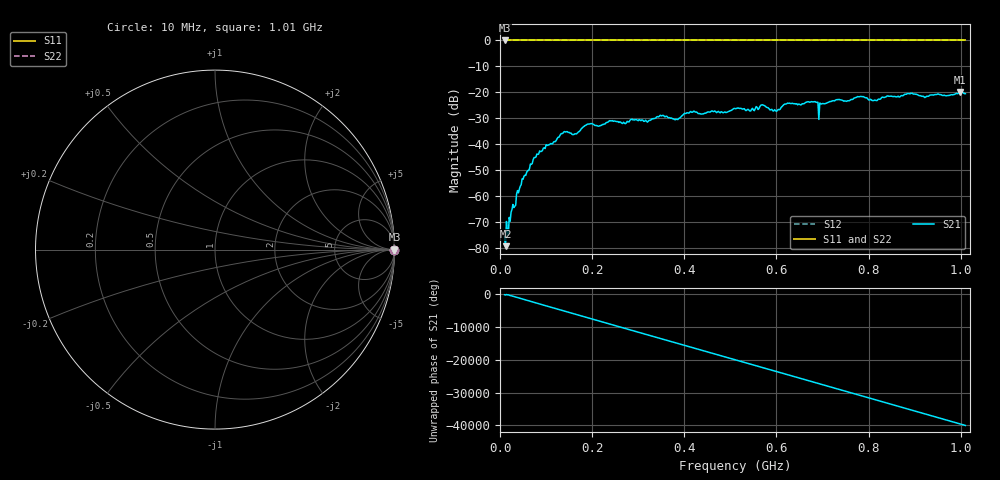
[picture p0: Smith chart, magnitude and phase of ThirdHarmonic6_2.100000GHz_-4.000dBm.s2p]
! 8/17/2025 1:07:22 AM
! C:\ANRITSUVNA\TEMP\TEMP.S2P
! CHANNEL.1
! TR.MEASUREMENT
! RAW.DATA
! RF.CORRECTION.OFF
! AVERAGING.OFF
! IF.BANDWIDTH: 5KHZ
! SWEEPTYPE:  FREQ.SWEEP(Linear)
! Reference Plane Port Info
! PORT:  PORT1  PORT2
! DISTANCE:  0  m  0  m
! TIME:  0  s  0  s
! PHASE.OFFSET:  0  deg.  0  deg.
! LOSS:  0  dB  0  dB
! REF.LOSS:  0  dB  0  dB
! REF.FREQ:  0  Hz  0  Hz
! Power Info
! POWER:  -20  dBm  -20  dBm
! EFF.POWER:  -20  dBm  -20  dBm
! SOURCE.ATTEN:  0  dB  0  dB
! TEST.ATTEN:  0  dB  0  dB
# GHZ S RI R 50.0
! FREQ.GHZ  S11RE  S11IM  S21RE  S21IM  S12RE  S12IM  S22RE  S22IM
!; PortSelection: Port_12
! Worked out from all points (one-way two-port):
!   501 points, 10 MHz to 1.01 GHz, reference 50 ohm
!   highest |S21| = -19.88 dB at 998 MHz (marker M1); lowest = -79.2 dB at 12 MHz (marker M2)
!   lowest |S11| = 0.0 dB at 10 MHz (marker M3)
!   |S11| at or under -10 dB: nowhere
!   |S22| runs from 0.0 to 0.0 dB; largest |S21 - S12| = 1.1
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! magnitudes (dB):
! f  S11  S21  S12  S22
! 10 MHz  0.0  -75.6  0.0  0.0
! 12 MHz  0.0  -79.2  0.0  0.0
! 40 MHz  0.0  -58.6  0.0  0.0
! 76 MHz  0.0  -45.1  0.0  0.0
! 136 MHz  0.0  -35.8  0.0  0.0
! 162 MHz  0.0  -36.0  0.0  0.0
! 178 MHz  0.0  -33.7  0.0  0.0
! 344 MHz  0.0  -29.4  0.0  0.0
! 382 MHz  0.0  -30.4  0.0  0.0
! 416 MHz  0.0  -27.6  0.0  0.0
! 510 MHz  0.0  -26.2  0.0  0.0
! 548 MHz  0.0  -26.1  0.0  0.0
! 570 MHz  0.0  -24.8  0.0  0.0
! 596 MHz  0.0  -26.6  0.0  0.0
! 622 MHz  0.0  -24.4  0.0  0.0
! 678 MHz  0.0  -23.6  0.0  0.0
! 696 MHz  0.0  -24.3  0.0  0.0
! 732 MHz  0.0  -22.8  0.0  0.0
! 814 MHz  0.0  -22.9  0.0  0.0
! 844 MHz  0.0  -21.5  0.0  0.0
! 998 MHz  0.0  -19.9  0.0  0.0
! 1.01 GHz  0.0  -20.5  0.0  0.0
